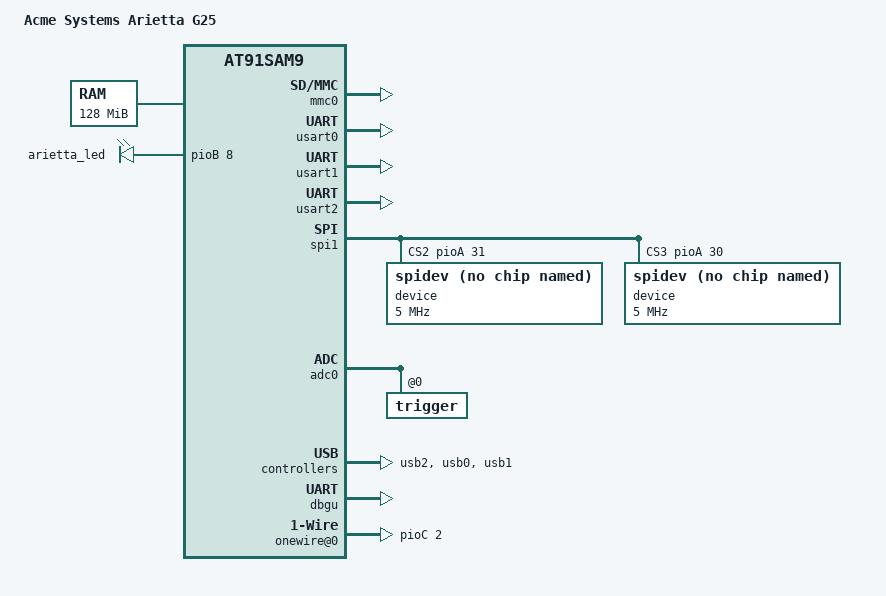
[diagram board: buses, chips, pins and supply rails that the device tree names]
/*
 * acme-arietta.dts - Device Tree file for Arietta G25
 * Generated by http://dts.acmesystems.it/arietta
 */
/dts-v1/;
#include "at91sam9g25.dtsi"
/ {
	model = "Acme Systems Arietta G25";
	compatible = "acme,ariettag25", "atmel,at91sam9x5ek","atmel,at91sam9x5", "atmel,at91sam9";
	aliases {
		serial0 = &dbgu;
		serial1 = &usart0;
		serial2 = &usart1;
		serial3 = &usart2;
		serial4 = &usart3;
		serial5 = &uart0;
		serial6 = &uart1;
	};
	chosen {
		bootargs = "console=ttyS0,115200 root=/dev/mmcblk0p2 rw rootwait";
	};
	memory {
		reg = <0x20000000 0x8000000>;
	};
	clocks {
		#address-cells = <1>;
		#size-cells = <1>;
		ranges;
		main_clock: clock@0 {
			compatible = "atmel,osc", "fixed-clock";
			clock-frequency = <12000000>;
		};
		
		main_xtal { 
			clock-frequency = <12000000>; 
		}; 
	};
	ahb {
		apb {
			mmc0: mmc@f0008000 {
				pinctrl-0 = <
				  &pinctrl_mmc0_slot0_clk_cmd_dat0
				  &pinctrl_mmc0_slot0_dat1_3>;
				status = "okay";
				slot@0 {
					reg = <0>;
					bus-width = <4>;
				};
			};
			usart0: serial@f801c000 {
				pinctrl-0 = <&pinctrl_usart0>;
				status ="okay";
			};
			usart1: serial@f8020000 {
				pinctrl-0 = <&pinctrl_usart1>;
				status ="okay";
			};
			usart2: serial@f8024000 {
				pinctrl-0 = <&pinctrl_usart2>;
				status ="okay";
			};
			spi1: spi@f0004000 {
				status = "okay";
				cs-gpios = <&pioA 8 0>, <&pioA 0 0>, <&pioA 31 0>, <&pioA 30 0>;
				device@2 {
					compatible = "spidev";
					spi-max-frequency = <5000000>;	    // 5 MHz
					reg = <2>;
				};
				device@3 {
					compatible = "spidev";
					spi-max-frequency = <5000000>;	    // 5 MHz
					reg = <3>;
				};
			};

			pinctrl@fffff400 {
				adc0 {
					pinctrl_adc0_ad0: adc0_ad0 {
						atmel,pins = <AT91_PIOB 11 AT91_PERIPH_GPIO AT91_PINCTRL_NONE>;
					};
					pinctrl_adc0_ad1: adc0_ad1 {
						atmel,pins = <AT91_PIOB 12 AT91_PERIPH_GPIO AT91_PINCTRL_NONE>;
					};
					pinctrl_adc0_ad2: adc0_ad2 {
						atmel,pins = <AT91_PIOB 13 AT91_PERIPH_GPIO AT91_PINCTRL_NONE>;
					};
					pinctrl_adc0_ad3: adc0_ad3 {
						atmel,pins = <AT91_PIOB 14 AT91_PERIPH_GPIO AT91_PINCTRL_NONE>;
					};
				};
			};
			
			adc0: adc@f804c000 {
				status = "okay";
				pinctrl-names = "default";
				pinctrl-0 = <&pinctrl_adc0_ad0 &pinctrl_adc0_ad1 &pinctrl_adc0_ad2 &pinctrl_adc0_ad3>;
				atmel,adc-channels-used = <0xf>;
				atmel,adc-num-channels = <4>;
				compatible = "atmel,at91sam9x5-adc";
				atmel,adc-startup-time = <40>;
				atmel,adc-status-register = <0x1c>;
				atmel,adc-trigger-register = <0x08>;
				atmel,adc-use-external;
				atmel,adc-vref = <3250>;
				atmel,adc-res = <8 10>;
				atmel,adc-res-names = "lowres", "highres";
				atmel,adc-use-res = "highres";
				trigger@0 {
					trigger-name = "continuous";
					trigger-value = <0x6>;
				};
			};

			ssc0: ssc@f0010000 {
				status = "okay";
			};
			usb2: gadget@f803c000 {
				status = "okay";
			};
			dbgu: serial@fffff200 {
				status = "okay";
			};
			pinctrl@fffff400 {
				w1_0 {
					pinctrl_w1_0: w1_0-0 {
						/* pull up on */
						atmel,pins = <2 2 0x0 0x1>;
					};
				};

			};
			rtc@fffffeb0 {
				status = "okay";
			};
		};
		usb0: ohci@00600000 {
			status = "okay";
			num-ports = <3>;
		};
		usb1: ehci@00700000 {
			status = "okay";
		};
	};
	leds {
		compatible = "gpio-leds";
		arietta_led {
			label = "arietta_led";
			gpios = <&pioB 8 GPIO_ACTIVE_HIGH>; /* PB8 */
			linux,default-trigger = "heartbeat";
		};
	};
	onewire@0 {
		compatible = "w1-gpio";
		gpios = <&pioC 2 GPIO_ACTIVE_LOW>;
		pinctrl-names = "default";
		pinctrl-0 = <&pinctrl_w1_0>;
	};

};
